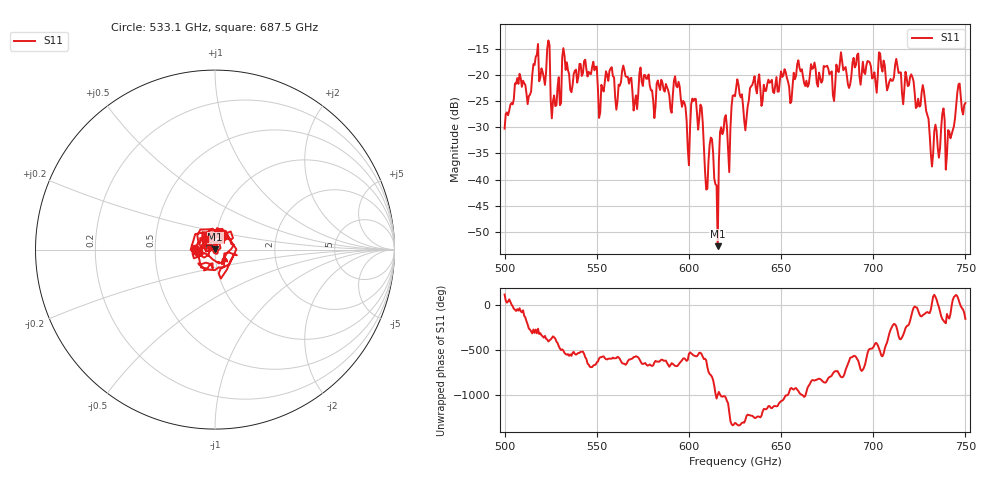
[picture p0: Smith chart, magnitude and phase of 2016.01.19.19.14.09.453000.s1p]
!Created with skrf (http://scikit-rf.org).
# GHz S RI R 50.0
!freq ReS11 ImS11
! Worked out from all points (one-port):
!   401 points, 500 GHz to 750 GHz, reference 50 ohm
!   lowest |S11| = -52.7 dB at 615.6 GHz (marker M1), VSWR 1.00, Z = 50 + j0.229 ohm
!   |S11| at or under -10 dB: start of sweep to end of sweep
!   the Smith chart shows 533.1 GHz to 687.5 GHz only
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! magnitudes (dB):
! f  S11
! 500 GHz  -30.3
! 506.9 GHz  -20.6
! 513.1 GHz  -24.1
! 516.9 GHz  -16.5
! 523.1 GHz  -15.0
! 526.9 GHz  -23.9
! 531.2 GHz  -16.6
! 562.5 GHz  -22.0
! 593.8 GHz  -22.4
! 599.4 GHz  -34.1
! 603.1 GHz  -24.6
! 606.9 GHz  -26.2
! 609.4 GHz  -41.9
! 611.9 GHz  -32.0
! 615.6 GHz  -52.7
! 618.1 GHz  -31.3
! 621.9 GHz  -38.6
! 625 GHz  -24.1
! 630.6 GHz  -30.6
! 634.4 GHz  -21.9
! 656.2 GHz  -22.1
! 687.5 GHz  -21.8
! 718.8 GHz  -22.1
! 727.5 GHz  -23.1
! 731.9 GHz  -37.5
! 740.6 GHz  -30.6
! 746.2 GHz  -21.8
! 750 GHz  -25.4
